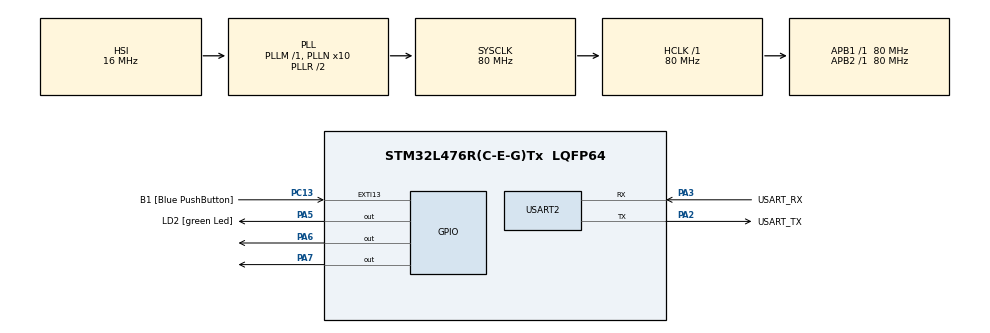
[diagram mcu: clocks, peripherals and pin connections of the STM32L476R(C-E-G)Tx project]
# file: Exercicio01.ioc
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Mcu.Family=STM32L4
Mcu.Name=STM32L476R(C-E-G)Tx
Mcu.Package=LQFP64
NVIC.PriorityGroup=NVIC_PRIORITYGROUP_4
PA13\ (JTMS-SWDIO).GPIO_Label=TMS
PA13\ (JTMS-SWDIO).Mode=Serial_Wire
PA13\ (JTMS-SWDIO).Signal=SYS_JTMS-SWDIO
PA14\ (JTCK-SWCLK).GPIO_Label=TCK
PA14\ (JTCK-SWCLK).Mode=Serial_Wire
PA14\ (JTCK-SWCLK).Signal=SYS_JTCK-SWCLK
PA2.GPIO_Label=USART_TX
PA2.GPIO_Mode=GPIO_MODE_AF_PP
PA2.GPIO_PuPd=GPIO_NOPULL
PA2.GPIO_Speed=GPIO_SPEED_FREQ_VERY_HIGH
PA2.Mode=Asynchronous
PA2.Signal=USART2_TX
PA3.GPIO_Label=USART_RX
PA3.GPIO_Mode=GPIO_MODE_AF_PP
PA3.GPIO_PuPd=GPIO_NOPULL
PA3.GPIO_Speed=GPIO_SPEED_FREQ_VERY_HIGH
PA3.Mode=Asynchronous
PA3.Signal=USART2_RX
PA5.GPIO_Label=LD2 [green Led]
PA5.GPIO_ModeDefaultOutputPP=GPIO_MODE_OUTPUT_PP
PA5.GPIO_PuPd=GPIO_NOPULL
PA5.GPIO_Speed=GPIO_SPEED_FREQ_LOW
PA5.Signal=GPIO_Output
PA6.Signal=GPIO_Output
PA7.Signal=GPIO_Output
PB3\ (JTDO-TRACESWO).GPIO_Label=SWO
PB3\ (JTDO-TRACESWO).Signal=SYS_JTDO-SWO
PC13.GPIO_Label=B1 [Blue PushButton]
PC13.GPIO_ModeDefaultEXTI=GPIO_MODE_IT_FALLING
PC13.GPIO_PuPd=GPIO_NOPULL
PC13.Signal=GPXTI13
PC14-OSC32_IN\ (PC14).Mode=LSE-External-Oscillator
PC14-OSC32_IN\ (PC14).Signal=RCC_OSC32_IN
PC15-OSC32_OUT\ (PC15).Mode=LSE-External-Oscillator
PC15-OSC32_OUT\ (PC15).Signal=RCC_OSC32_OUT
PH0-OSC_IN\ (PH0).Signal=RCC_OSC_IN
PH1-OSC_OUT\ (PH1).Signal=RCC_OSC_OUT
ProjectManager.HeapSize=0x200
ProjectManager.StackSize=0x400
ProjectManager.TargetToolchain=STM32CubeIDE
RCC.ADCFreq_Value=64000000
RCC.AHBFreq_Value=80000000
RCC.APB1Freq_Value=80000000
RCC.APB1TimFreq_Value=80000000
RCC.APB2Freq_Value=80000000
RCC.APB2TimFreq_Value=80000000
RCC.CortexFreq_Value=80000000
RCC.HCLKFreq_Value=80000000
RCC.HSE_VALUE=8000000
RCC.HSI_VALUE=16000000
RCC.MSI_VALUE=4000000
RCC.PLLN=10
RCC.PLLSourceVirtual=RCC_PLLSOURCE_HSI
RCC.PREFETCH_ENABLE=1
RCC.SYSCLKFreq_VALUE=80000000
RCC.SYSCLKSource=RCC_SYSCLKSOURCE_PLLCLK
RCC.USBFreq_Value=64000000
RCC.VCOOutputFreq_Value=160000000
USART2.VirtualMode-Asynchronous=VM_ASYNC
board=NUCLEO-L476RG

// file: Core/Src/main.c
/* USER CODE BEGIN Header */
/**
  ******************************************************************************
  * @file           : main.c
  * @brief          : Main program body
  ******************************************************************************
  * @attention
  *
  * Copyright (c) 2025 STMicroelectronics.
  * All rights reserved.
  *
  * This software is licensed under terms that can be found in the LICENSE file
  * in the root directory of this software component.
  * If no LICENSE file comes with this software, it is provided AS-IS.
  *
  ******************************************************************************
  */
/* USER CODE END Header */
#include "main.h"

UART_HandleTypeDef huart2;

void SystemClock_Config(void);
static void MX_GPIO_Init(void);
static void MX_USART2_UART_Init(void);

int main(void)
{

  /* MCU Configuration--------------------------------------------------------*/

  /* Reset of all peripherals, Initializes the Flash interface and the Systick. */
  HAL_Init();

  /* Configure the system clock */
  SystemClock_Config();

  /* Initialize all configured peripherals */
  MX_GPIO_Init();
  MX_USART2_UART_Init();

  /* Infinite loop */
  /* USER CODE BEGIN WHILE */
  uint32_t frequency = 100;
  uint32_t period_ms = 1000 / frequency; //10ms

  uint32_t duty_cycle1 = 20;
  uint32_t duty_cycle2  = 60;
  uint32_t duty_cycle3  = 90;

  uint32_t time1 = (period_ms * duty_cycle1) / 100;
  uint32_t time2 = (period_ms * duty_cycle2) / 100;
  uint32_t time3 = (period_ms * duty_cycle3) / 100;

  while (1)
  {

	  HAL_GPIO_WritePin(GPIOA, LD2_Pin, GPIO_PIN_SET); //Forte intensidade
	  HAL_GPIO_WritePin(GPIOA, GPIO_PIN_6, GPIO_PIN_SET); //Média intensidade
	  HAL_GPIO_WritePin(GPIOA, GPIO_PIN_7, GPIO_PIN_SET); //Fraca intensidade

	  HAL_Delay(time1); //2ms

	  HAL_GPIO_WritePin(GPIOA, LD2_Pin, GPIO_PIN_RESET);

	  HAL_Delay(time2 - time1); //6ms - 2ms = 4ms

	  HAL_GPIO_WritePin(GPIOA, GPIO_PIN_6, GPIO_PIN_RESET);

	  HAL_Delay(time3 - time2); //9ms - 6ms = 3ms

	  HAL_GPIO_WritePin(GPIOA, GPIO_PIN_7, GPIO_PIN_RESET);

	  HAL_Delay(period_ms - time3); //10ms - 9ms = 1ms

    /* USER CODE END WHILE */

  }
}

void SystemClock_Config(void)
{
  RCC_OscInitTypeDef RCC_OscInitStruct = {0};
  RCC_ClkInitTypeDef RCC_ClkInitStruct = {0};

  /** Configure the main internal regulator output voltage
  */
  if (HAL_PWREx_ControlVoltageScaling(PWR_REGULATOR_VOLTAGE_SCALE1) != HAL_OK)
  {
    Error_Handler();
  }

  /** Initializes the RCC Oscillators according to the specified parameters
  * in the RCC_OscInitTypeDef structure.
  */
  RCC_OscInitStruct.OscillatorType = RCC_OSCILLATORTYPE_HSI;
  RCC_OscInitStruct.HSIState = RCC_HSI_ON;
  RCC_OscInitStruct.HSICalibrationValue = RCC_HSICALIBRATION_DEFAULT;
  RCC_OscInitStruct.PLL.PLLState = RCC_PLL_ON;
  RCC_OscInitStruct.PLL.PLLSource = RCC_PLLSOURCE_HSI;
  RCC_OscInitStruct.PLL.PLLM = 1;
  RCC_OscInitStruct.PLL.PLLN = 10;
  RCC_OscInitStruct.PLL.PLLP = RCC_PLLP_DIV7;
  RCC_OscInitStruct.PLL.PLLQ = RCC_PLLQ_DIV2;
  RCC_OscInitStruct.PLL.PLLR = RCC_PLLR_DIV2;
  if (HAL_RCC_OscConfig(&RCC_OscInitStruct) != HAL_OK)
  {
    Error_Handler();
  }

  /** Initializes the CPU, AHB and APB buses clocks
  */
  RCC_ClkInitStruct.ClockType = RCC_CLOCKTYPE_HCLK|RCC_CLOCKTYPE_SYSCLK
                              |RCC_CLOCKTYPE_PCLK1|RCC_CLOCKTYPE_PCLK2;
  RCC_ClkInitStruct.SYSCLKSource = RCC_SYSCLKSOURCE_PLLCLK;
  RCC_ClkInitStruct.AHBCLKDivider = RCC_SYSCLK_DIV1;
  RCC_ClkInitStruct.APB1CLKDivider = RCC_HCLK_DIV1;
  RCC_ClkInitStruct.APB2CLKDivider = RCC_HCLK_DIV1;

  if (HAL_RCC_ClockConfig(&RCC_ClkInitStruct, FLASH_LATENCY_4) != HAL_OK)
  {
    Error_Handler();
  }
}

static void MX_USART2_UART_Init(void)
{

  huart2.Instance = USART2;
  huart2.Init.BaudRate = 115200;
  huart2.Init.WordLength = UART_WORDLENGTH_8B;
  huart2.Init.StopBits = UART_STOPBITS_1;
  huart2.Init.Parity = UART_PARITY_NONE;
  huart2.Init.Mode = UART_MODE_TX_RX;
  huart2.Init.HwFlowCtl = UART_HWCONTROL_NONE;
  huart2.Init.OverSampling = UART_OVERSAMPLING_16;
  huart2.Init.OneBitSampling = UART_ONE_BIT_SAMPLE_DISABLE;
  huart2.AdvancedInit.AdvFeatureInit = UART_ADVFEATURE_NO_INIT;
  if (HAL_UART_Init(&huart2) != HAL_OK)
  {
    Error_Handler();
  }

}

static void MX_GPIO_Init(void)
{
  GPIO_InitTypeDef GPIO_InitStruct = {0};

  /* GPIO Ports Clock Enable */
  __HAL_RCC_GPIOC_CLK_ENABLE();
  __HAL_RCC_GPIOH_CLK_ENABLE();
  __HAL_RCC_GPIOA_CLK_ENABLE();
  __HAL_RCC_GPIOB_CLK_ENABLE();

  /*Configure GPIO pin Output Level */
  HAL_GPIO_WritePin(GPIOA, LD2_Pin|GPIO_PIN_6|GPIO_PIN_7, GPIO_PIN_RESET);

  /*Configure GPIO pin : B1_Pin */
  GPIO_InitStruct.Pin = B1_Pin;
  GPIO_InitStruct.Mode = GPIO_MODE_IT_FALLING;
  GPIO_InitStruct.Pull = GPIO_NOPULL;
  HAL_GPIO_Init(B1_GPIO_Port, &GPIO_InitStruct);

  /*Configure GPIO pins : LD2_Pin PA6 PA7 */
  GPIO_InitStruct.Pin = LD2_Pin|GPIO_PIN_6|GPIO_PIN_7;
  GPIO_InitStruct.Mode = GPIO_MODE_OUTPUT_PP;
  GPIO_InitStruct.Pull = GPIO_NOPULL;
  GPIO_InitStruct.Speed = GPIO_SPEED_FREQ_LOW;
  HAL_GPIO_Init(GPIOA, &GPIO_InitStruct);

}

void Error_Handler(void)
{
  __disable_irq();
  while (1)
  {
  }
}
